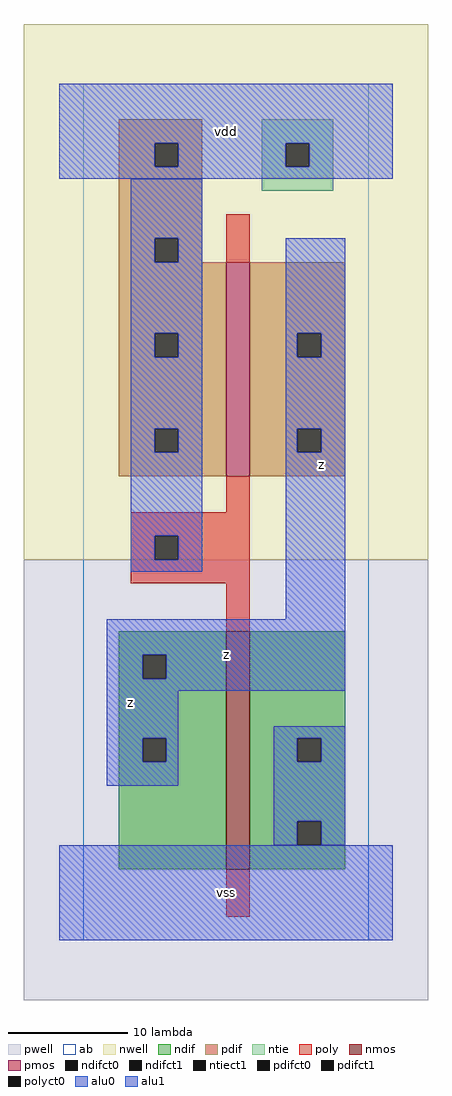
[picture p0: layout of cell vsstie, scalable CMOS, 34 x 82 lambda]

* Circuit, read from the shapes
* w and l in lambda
.subckt vsstie vdd vss z
M1 vss vdd z VSUBS nfet w=20 l=2
M2 z vdd vdd vdd pfet w=18 l=2
.ends

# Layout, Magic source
magic
tech scmos
<< ab >>
rect 0 0 24 72
<< nwell >>
rect -5 32 29 77
<< pwell >>
rect -5 -5 29 32
<< poly >>
rect 12 57 14 61
rect 12 36 14 39
rect 4 34 14 36
rect 4 32 6 34
rect 8 32 14 34
rect 4 30 14 32
rect 12 26 14 30
rect 12 2 14 6
<< ndif >>
rect 3 24 12 26
rect 3 22 5 24
rect 7 22 12 24
rect 3 17 12 22
rect 3 15 5 17
rect 7 15 12 17
rect 3 6 12 15
rect 14 17 22 26
rect 14 15 18 17
rect 20 15 22 17
rect 14 10 22 15
rect 14 8 18 10
rect 20 8 22 10
rect 14 6 22 8
<< pdif >>
rect 3 67 10 69
rect 3 65 6 67
rect 8 65 10 67
rect 3 59 10 65
rect 3 57 6 59
rect 8 57 10 59
rect 3 51 12 57
rect 3 49 6 51
rect 8 49 12 51
rect 3 43 12 49
rect 3 41 6 43
rect 8 41 12 43
rect 3 39 12 41
rect 14 51 22 57
rect 14 49 18 51
rect 20 49 22 51
rect 14 43 22 49
rect 14 41 18 43
rect 20 41 22 43
rect 14 39 22 41
<< alu1 >>
rect -2 67 26 72
rect -2 65 6 67
rect 8 65 17 67
rect 19 65 26 67
rect -2 64 26 65
rect 17 51 22 59
rect 17 49 18 51
rect 20 49 22 51
rect 17 43 22 49
rect 17 41 18 43
rect 20 41 22 43
rect 17 27 22 41
rect 2 24 22 27
rect 2 22 5 24
rect 7 22 22 24
rect 2 21 22 22
rect 2 17 8 21
rect 2 15 5 17
rect 7 15 8 17
rect 2 13 8 15
rect -2 0 26 8
<< ntie >>
rect 15 67 21 69
rect 15 65 17 67
rect 19 65 21 67
rect 15 63 21 65
<< nmos >>
rect 12 6 14 26
<< pmos >>
rect 12 39 14 57
<< polyct0 >>
rect 6 32 8 34
<< ndifct0 >>
rect 18 15 20 17
rect 18 8 20 10
<< ndifct1 >>
rect 5 22 7 24
rect 5 15 7 17
<< ntiect1 >>
rect 17 65 19 67
<< pdifct0 >>
rect 6 57 8 59
rect 6 49 8 51
rect 6 41 8 43
<< pdifct1 >>
rect 6 65 8 67
rect 18 49 20 51
rect 18 41 20 43
<< alu0 >>
rect 4 59 10 64
rect 4 57 6 59
rect 8 57 10 59
rect 4 51 10 57
rect 4 49 6 51
rect 8 49 10 51
rect 4 43 10 49
rect 4 41 6 43
rect 8 41 10 43
rect 4 34 10 41
rect 4 32 6 34
rect 8 32 10 34
rect 4 31 10 32
rect 16 17 22 18
rect 16 15 18 17
rect 20 15 22 17
rect 16 10 22 15
rect 16 8 18 10
rect 20 8 22 10
<< labels >>
rlabel alu1 4 20 4 20 6 z
rlabel alu1 12 4 12 4 6 vss
rlabel alu1 12 24 12 24 6 z
rlabel alu1 12 68 12 68 6 vdd
rlabel alu1 20 40 20 40 6 z
<< end >>
